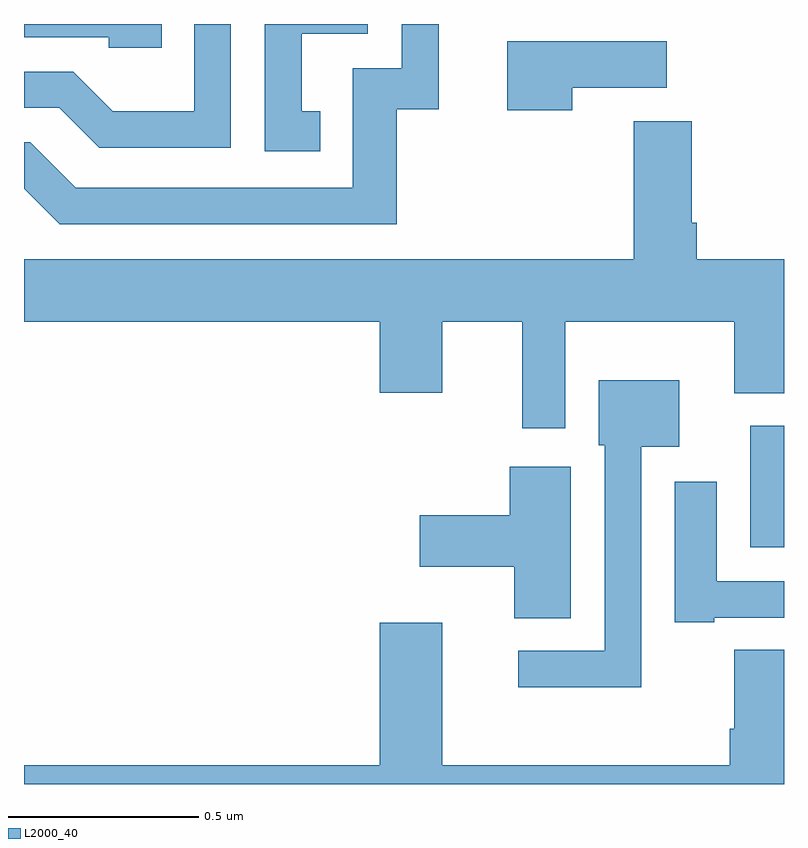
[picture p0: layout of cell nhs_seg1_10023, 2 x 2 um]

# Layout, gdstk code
import gdstk
lib = gdstk.Library(unit=1e-6, precision=1e-09)
def R(c, l, rs):  # rectangles x0, y0, x1, y1
    for r in rs: c.add(gdstk.rectangle(r[:2], r[2:], *l))
def P(c, l, *ps):  # polygons
    for p in ps: c.add(gdstk.Polygon(p, *l))
L2000_40 = (2000, 40)

nhs_seg1_10023 = lib.new_cell('nhs_seg1_10023')
R(nhs_seg1_10023, L2000_40, [(237.911,533.822,238,534.142)])
P(nhs_seg1_10023, L2000_40, [(236.363,535.199),(236,535.199),(236,535.164),(236.223,535.164),(236.223,535.137),(236.363,535.137)],
  [(236.544,535.199),(236.448,535.199),(236.448,534.97),(236.234,534.97),(236.13,535.074),(236,535.074),(236,534.978),(236.093,534.978),(236.198,534.873),(236.544,534.873)],
  [(236.78,534.969),(236.731,534.969),(236.731,535.173),(236.904,535.173),(236.904,535.199),(236.634,535.199),(236.634,534.864),(236.78,534.864)],
  [(236.981,534.975),(237.092,534.975),(237.092,535.199),(236.994,535.199),(236.994,535.083),(236.865,535.083),(236.865,534.768),(236.136,534.768),(236.016,534.888),(236,534.888),(236,534.766),(236.094,534.672),(236.981,534.672)],
  [(237.443,535.031),(237.691,535.031),(237.691,535.153),(237.272,535.153),(237.272,534.972),(237.443,534.972)],
  [(237.424,534.416),(237.869,534.416),(237.869,534.227),(238,534.227),(238,534.58),(237.77,534.58),(237.77,534.676),(237.757,534.676),(237.757,534.943),(237.605,534.943),(237.605,534.58),(236,534.58),(236,534.416),(236.936,534.416),(236.936,534.228),(237.1,534.228),(237.1,534.416),(237.311,534.416),(237.311,534.135),(237.424,534.135)],
  [(237.624,534.086),(237.724,534.086),(237.724,534.262),(237.512,534.262),(237.512,534.09),(237.528,534.09),(237.528,533.55),(237.3,533.55),(237.3,533.453),(237.624,533.453)],
  [(237.439,534.034),(237.278,534.034),(237.278,533.906),(237.042,533.906),(237.042,533.771),(237.29,533.771),(237.29,533.635),(237.439,533.635)],
  [(237.817,533.637),(238,533.637),(238,533.733),(237.823,533.733),(237.823,533.995),(237.713,533.995),(237.713,533.625),(237.817,533.625)],
  [(238,533.552),(237.869,533.552),(237.869,533.344),(237.857,533.344),(237.857,533.248),(237.1,533.248),(237.1,533.623),(236.936,533.623),(236.936,533.248),(236,533.248),(236,533.199),(238,533.199)])

lib.write_gds('nhs_seg1_10023.gds')
